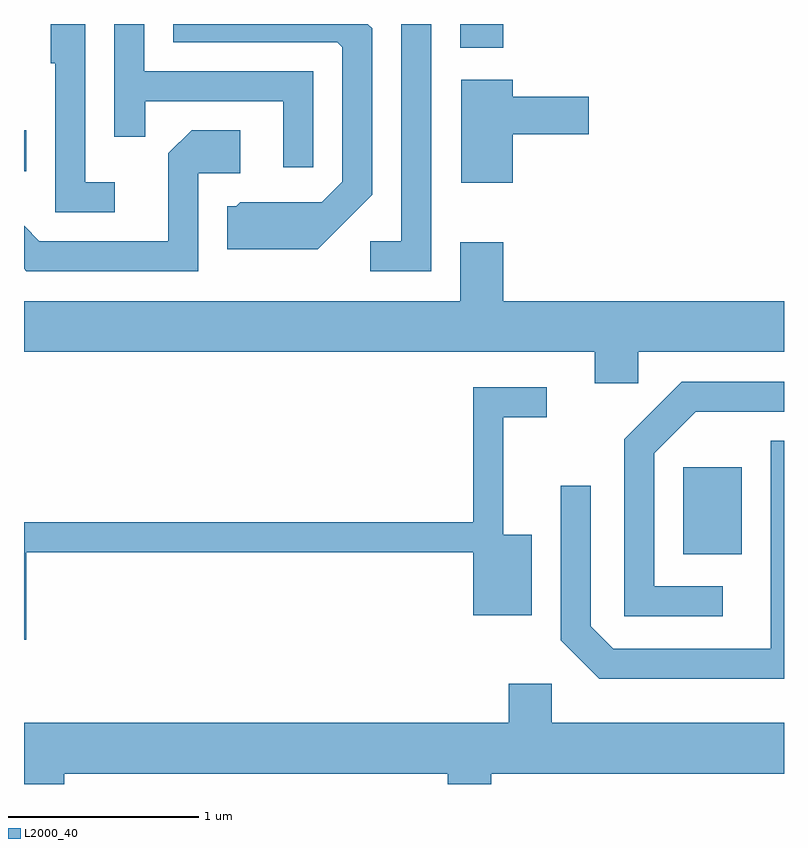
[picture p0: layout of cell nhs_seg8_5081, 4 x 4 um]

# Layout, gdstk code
import gdstk
lib = gdstk.Library(unit=1e-6, precision=1e-09)
def R(c, l, rs):  # rectangles x0, y0, x1, y1
    for r in rs: c.add(gdstk.rectangle(r[:2], r[2:], *l))
def P(c, l, *ps):  # polygons
    for p in ps: c.add(gdstk.Polygon(p, *l))
L2000_40 = (2000, 40)

nhs_seg8_5081 = lib.new_cell('nhs_seg8_5081')
R(nhs_seg8_5081, L2000_40, [(341.081,1857.551,341.389,1858.009), (337.611,1859.566,337.624,1859.784), (339.906,1860.216,340.134,1860.342)])
P(nhs_seg8_5081, L2000_40, [(338.088,1859.509),(337.934,1859.509),(337.934,1860.342),(337.751,1860.342),(337.751,1860.136),(337.776,1860.136),(337.776,1859.351),(338.088,1859.351)],
  [(339.444,1859.444),(339.444,1860.319),(339.421,1860.342),(338.396,1860.342),(338.396,1860.246),(339.259,1860.246),(339.286,1860.219),(339.286,1859.512),(339.179,1859.404),(338.749,1859.404),(338.729,1859.384),(338.681,1859.384),(338.681,1859.156),(339.157,1859.156)],
  [(339.754,1860.342),(339.596,1860.342),(339.596,1859.199),(339.433,1859.199),(339.433,1859.041),(339.754,1859.041)],
  [(339.134,1860.094),(338.244,1860.094),(338.244,1860.342),(338.086,1860.342),(338.086,1859.748),(338.249,1859.748),(338.249,1859.936),(338.976,1859.936),(338.976,1859.588),(339.134,1859.588)],
  [(340.184,1859.761),(340.584,1859.761),(340.584,1859.959),(340.184,1859.959),(340.184,1860.049),(339.911,1860.049),(339.911,1859.506),(340.184,1859.506)],
  [(338.529,1859.556),(338.749,1859.556),(338.749,1859.784),(338.494,1859.784),(338.371,1859.662),(338.371,1859.199),(337.692,1859.199),(337.611,1859.28),(337.611,1859.054),(337.624,1859.041),(338.529,1859.041)],
  [(340.844,1858.616),(341.611,1858.616),(341.611,1858.884),(340.134,1858.884),(340.134,1859.194),(339.906,1859.194),(339.906,1858.884),(337.611,1858.884),(337.611,1858.616),(340.616,1858.616),(340.616,1858.451),(340.844,1858.451)],
  [(341.288,1857.384),(340.929,1857.384),(340.929,1858.084),(341.147,1858.301),(341.611,1858.301),(341.611,1858.459),(341.074,1858.459),(340.771,1858.157),(340.771,1857.226),(341.288,1857.226)],
  [(337.624,1857.561),(339.976,1857.561),(339.976,1857.231),(340.284,1857.231),(340.284,1857.654),(340.134,1857.654),(340.134,1858.271),(340.363,1858.271),(340.363,1858.429),(339.976,1858.429),(339.976,1857.719),(337.611,1857.719),(337.611,1857.101),(337.624,1857.101)],
  [(341.611,1858.149),(341.541,1858.149),(341.541,1857.054),(340.712,1857.054),(340.594,1857.172),(340.594,1857.913),(340.436,1857.913),(340.436,1857.099),(340.639,1856.896),(341.611,1856.896)],
  [(337.824,1856.396),(339.841,1856.396),(339.841,1856.342),(340.069,1856.342),(340.069,1856.396),(341.611,1856.396),(341.611,1856.664),(340.389,1856.664),(340.389,1856.869),(340.161,1856.869),(340.161,1856.664),(337.611,1856.664),(337.611,1856.342),(337.824,1856.342)])

lib.write_gds('nhs_seg8_5081.gds')
